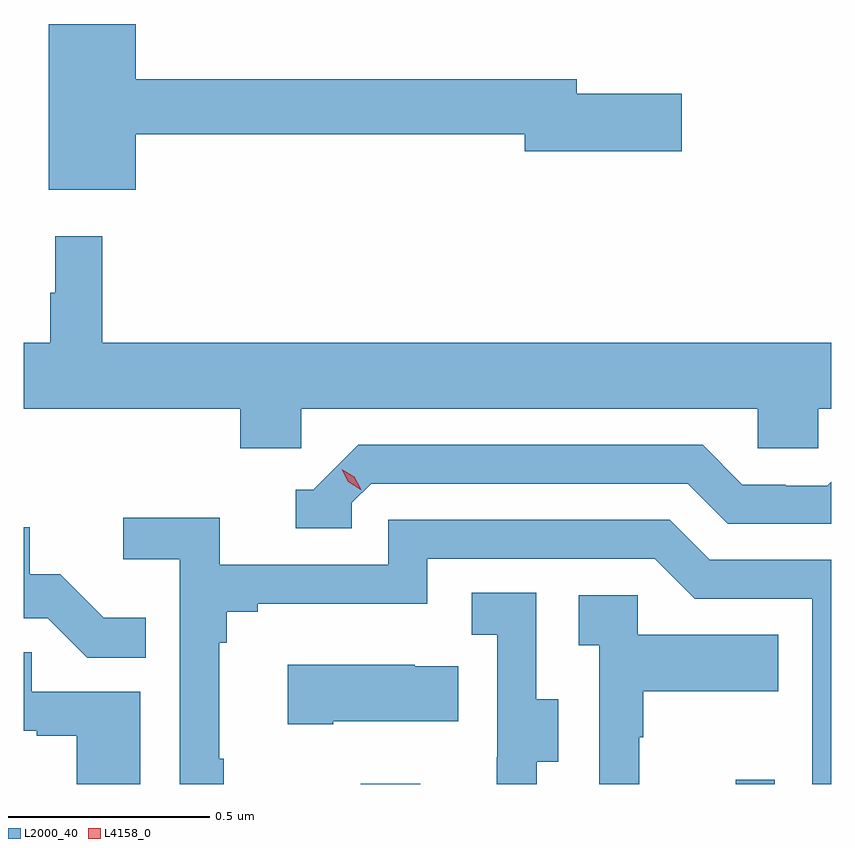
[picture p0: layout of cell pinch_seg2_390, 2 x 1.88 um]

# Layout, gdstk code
import gdstk
lib = gdstk.Library(unit=1e-6, precision=1e-09)
def R(c, l, rs):  # rectangles x0, y0, x1, y1
    for r in rs: c.add(gdstk.rectangle(r[:2], r[2:], *l))
def P(c, l, *ps):  # polygons
    for p in ps: c.add(gdstk.Polygon(p, *l))
L2000_40 = (2000, 40)
L4158_0 = (4158, 0)

pinch_seg2_390 = lib.new_cell('pinch_seg2_390')
R(pinch_seg2_390, L2000_40, [(953.482,609.411,953.629,609.412), (954.41,609.411,954.507,609.421)])
P(pinch_seg2_390, L2000_40, [(952.924,611.02),(953.888,611.02),(953.888,610.978),(954.277,610.978),(954.277,611.12),(954.016,611.12),(954.016,611.156),(952.924,611.156),(952.924,611.293),(952.709,611.293),(952.709,610.883),(952.924,610.883)],
  [(953.334,610.34),(954.465,610.34),(954.465,610.242),(954.615,610.242),(954.615,610.34),(954.647,610.34),(954.647,610.504),(952.841,610.504),(952.841,610.768),(952.725,610.768),(952.725,610.628),(952.713,610.628),(952.713,610.504),(952.647,610.504),(952.647,610.34),(953.183,610.34),(953.183,610.242),(953.334,610.242)],
  [(953.46,610.107),(953.508,610.155),(954.291,610.155),(954.39,610.056),(954.647,610.056),(954.647,610.159),(954.637,610.149),(954.534,610.149),(954.534,610.152),(954.427,610.152),(954.328,610.251),(953.475,610.251),(953.364,610.14),(953.321,610.14),(953.321,610.044),(953.46,610.044)],
  [(953.143,609.473),(953.131,609.473),(953.131,609.761),(953.15,609.761),(953.15,609.838),(953.227,609.838),(953.227,609.857),(953.646,609.857),(953.646,609.969),(954.21,609.969),(954.309,609.87),(954.6,609.87),(954.6,609.411),(954.647,609.411),(954.647,609.966),(954.346,609.966),(954.247,610.065),(953.55,610.065),(953.55,609.954),(953.132,609.954),(953.132,610.07),(952.893,610.07),(952.893,609.968),(953.034,609.968),(953.034,609.411),(953.143,609.411)],
  [(952.949,609.823),(952.845,609.823),(952.738,609.93),(952.662,609.93),(952.662,610.047),(952.647,610.047),(952.647,609.822),(952.707,609.822),(952.805,609.724),(952.949,609.724)],
  [(953.917,609.466),(953.971,609.466),(953.971,609.621),(953.916,609.621),(953.916,609.884),(953.757,609.884),(953.757,609.781),(953.82,609.781),(953.82,609.477),(953.819,609.477),(953.819,609.411),(953.917,609.411)],
  [(954.171,609.527),(954.181,609.527),(954.181,609.641),(954.515,609.641),(954.515,609.781),(954.168,609.781),(954.168,609.879),(954.021,609.879),(954.021,609.755),(954.072,609.755),(954.072,609.411),(954.171,609.411)],
  [(952.936,609.639),(952.667,609.639),(952.667,609.737),(952.647,609.737),(952.647,609.543),(952.679,609.543),(952.679,609.531),(952.778,609.531),(952.778,609.411),(952.936,609.411)],
  [(953.413,609.566),(953.723,609.566),(953.723,609.703),(953.615,609.703),(953.615,609.706),(953.301,609.706),(953.301,609.559),(953.413,609.559)])
P(pinch_seg2_390, L4158_0, [(953.482,610.14),(953.451,610.159),(953.435,610.191),(953.435,610.191),(953.435,610.191),(953.466,610.172),(953.483,610.14),(953.483,610.14)])

lib.write_gds('pinch_seg2_390.gds')
